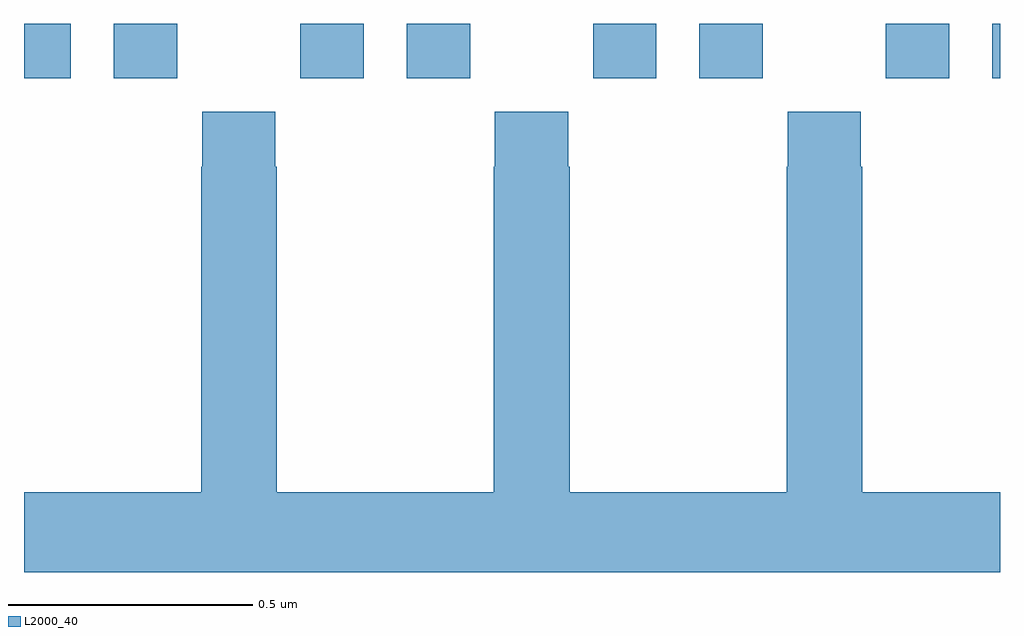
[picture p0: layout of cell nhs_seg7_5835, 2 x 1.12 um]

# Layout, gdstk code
import gdstk
lib = gdstk.Library(unit=1e-6, precision=1e-09)
def R(c, l, rs):  # rectangles x0, y0, x1, y1
    for r in rs: c.add(gdstk.rectangle(r[:2], r[2:], *l))
def P(c, l, *ps):  # polygons
    for p in ps: c.add(gdstk.Polygon(p, *l))
L2000_40 = (2000, 40)

nhs_seg7_5835 = lib.new_cell('nhs_seg7_5835')
R(nhs_seg7_5835, L2000_40, [(190,1074.888,190.096,1075), (190.184,1074.888,190.314,1075), (190.566,1074.888,190.696,1075), (190.784,1074.888,190.914,1075), (191.166,1074.888,191.296,1075), (191.384,1074.888,191.514,1075), (191.766,1074.888,191.896,1075), (191.984,1074.888,192,1075)])
P(nhs_seg7_5835, L2000_40, [(192,1074.04),(191.718,1074.04),(191.718,1074.707),(191.715,1074.707),(191.715,1074.82),(191.565,1074.82),(191.565,1074.707),(191.563,1074.707),(191.563,1074.04),(191.118,1074.04),(191.118,1074.707),(191.115,1074.707),(191.115,1074.82),(190.965,1074.82),(190.965,1074.707),(190.963,1074.707),(190.963,1074.04),(190.518,1074.04),(190.518,1074.707),(190.515,1074.707),(190.515,1074.82),(190.365,1074.82),(190.365,1074.707),(190.363,1074.707),(190.363,1074.04),(190,1074.04),(190,1073.876),(192,1073.876)])

lib.write_gds('nhs_seg7_5835.gds')
